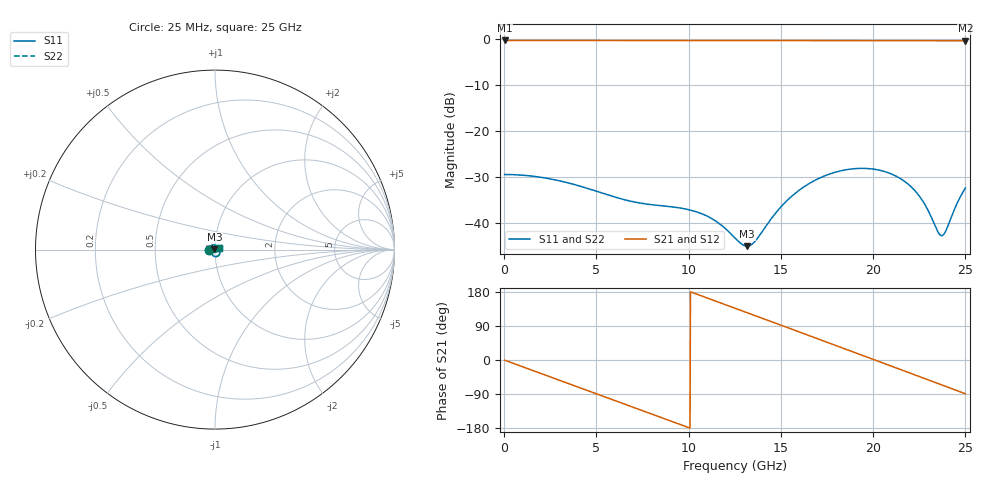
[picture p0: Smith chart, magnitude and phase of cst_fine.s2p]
! thru_R_s4_L1: 2×thru, L1, 8 mm
! stackup: 4-layer 1.6 mm FR-4
! ports: 1, 2
! CST Studio Suite 2025.5 Release from 2025-05-30, time domain (FIT, hexahedral, PBA), 76038 mesh cells, 15 s
! mesh: {'lpw': 30.0, 'lpb': 30.0, 'minstep': 0.0, 'ratio': 20}; ports: port 1 (face); port 2 (face)
! interpolated from CST's 1001 samples to the case grid
# Hz S RI R 50
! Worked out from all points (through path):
!   1000 points, 25 MHz to 25 GHz, reference 50 ohm
!   highest |S21| = -0.29 dB at 25 MHz (marker M1); lowest = -0.4 dB at 25 GHz (marker M2)
!   group delay of S21, straight-line fit = 49.9 ps
!   lowest |S11| = -45.0 dB at 13.18 GHz (marker M3), VSWR 1.01, Z = 49.6 + j0.421 ohm
!   |S11| at or under -10 dB: start of sweep to end of sweep
!   |S22| runs from -45.0 to -28.1 dB; largest |S21 - S12| = 5.4e-07
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2.5e7  -0.0339 0.000288  0.9666 -0.00751  0.9666 -0.00751  -0.0339 0.000288
1.95e9  -0.0247 0.0198  0.7943 -0.5507  0.7943 -0.5507  -0.0247 0.0198
3.125e9  -0.0126 0.0256  0.545 -0.798  0.545 -0.798  -0.0126 0.0256
4.2e9  -0.00046 0.025  0.2529 -0.9325  0.2529 -0.9325  -0.00046 0.025
5.2e9  0.00927 0.0196  -0.0447 -0.9649  -0.0447 -0.9649  0.00927 0.0196
6.2e9  0.0154 0.0107  -0.3379 -0.9047  -0.3379 -0.9047  0.0154 0.0107
8.35e9  0.0127 -0.00915  -0.8261 -0.4993  -0.8261 -0.4993  0.0127 -0.00915
9.4e9  0.00537 -0.0138  -0.9425 -0.207  -0.9425 -0.207  0.00537 -0.0138
1.0425e10  -0.00219 -0.0131  -0.9596 0.0999  -0.9596 0.0999  -0.00219 -0.0131
1.145e10  -0.00709 -0.00793  -0.8793 0.3969  -0.8793 0.3969  -0.00709 -0.00793
1.2525e10  -0.00689 -8.9e-05  -0.6989 0.6646  -0.6989 0.6646  -0.00689 -8.9e-05
1.3175e10  -0.00373 0.00424  -0.5501 0.7921  -0.5501 0.7921  -0.00373 0.00424
1.3625e10  -0.00034 0.00646  -0.4333 0.8615  -0.4333 0.8615  -0.00034 0.00646
1.4925e10  0.0127 0.00693  -0.056 0.9624  -0.056 0.9624  0.0127 0.00693
1.6675e10  0.0267 -0.00852  0.4552 0.8493  0.4552 0.8493  0.0267 -0.00852
1.8875e10  0.0164 -0.0354  0.892 0.362  0.892 0.362  0.0164 -0.0354
1.9875e10  0.00257 -0.039  0.9598 0.0671  0.9598 0.0671  0.00257 -0.039
2.085e10  -0.0105 -0.0336  0.9345 -0.2271  0.9345 -0.2271  -0.0105 -0.0336
2.235e10  -0.0178 -0.0123  0.7267 -0.6287  0.7267 -0.6287  -0.0178 -0.0123
2.37e10  -0.0036 0.0064  0.4 -0.8731  0.4 -0.8731  -0.0036 0.0064
2.3925e10  0.000453 0.00816  0.3367 -0.8993  0.3367 -0.8993  0.000453 0.00816
2.5e10  0.0228 0.00786  0.016 -0.9599  0.016 -0.9599  0.0228 0.00786
